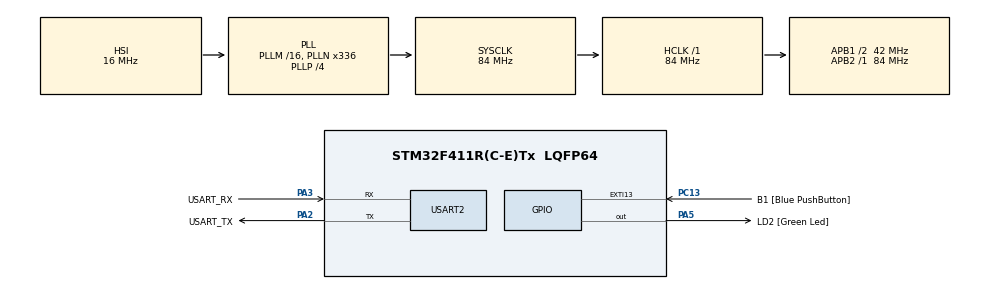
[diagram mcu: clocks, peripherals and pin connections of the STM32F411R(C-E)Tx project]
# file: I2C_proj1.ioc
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Mcu.Family=STM32F4
Mcu.Name=STM32F411R(C-E)Tx
Mcu.Package=LQFP64
NVIC.PriorityGroup=NVIC_PRIORITYGROUP_0
PA13.GPIO_Label=TMS
PA13.Mode=Serial_Wire
PA13.Signal=SYS_JTMS-SWDIO
PA14.GPIO_Label=TCK
PA14.Mode=Serial_Wire
PA14.Signal=SYS_JTCK-SWCLK
PA2.GPIO_Label=USART_TX
PA2.Mode=Asynchronous
PA2.Signal=USART2_TX
PA3.GPIO_Label=USART_RX
PA3.Mode=Asynchronous
PA3.Signal=USART2_RX
PA5.GPIO_Label=LD2 [Green Led]
PA5.Signal=GPIO_Output
PB3.GPIO_Label=SWO
PB3.Signal=SYS_JTDO-SWO
PC13-ANTI_TAMP.GPIO_Label=B1 [Blue PushButton]
PC13-ANTI_TAMP.GPIO_ModeDefaultEXTI=GPIO_MODE_IT_FALLING
PC13-ANTI_TAMP.Signal=GPXTI13
PC14-OSC32_IN.Mode=LSE-External-Oscillator
PC14-OSC32_IN.Signal=RCC_OSC32_IN
PC15-OSC32_OUT.Mode=LSE-External-Oscillator
PC15-OSC32_OUT.Signal=RCC_OSC32_OUT
PH0\ -\ OSC_IN.Mode=HSE-External-Clock-Source
PH0\ -\ OSC_IN.Signal=RCC_OSC_IN
PH1\ -\ OSC_OUT.Mode=HSE-External-Clock-Source
PH1\ -\ OSC_OUT.Signal=RCC_OSC_OUT
ProjectManager.HeapSize=0x200
ProjectManager.StackSize=0x400
ProjectManager.TargetToolchain=STM32CubeIDE
RCC.48MHZClocksFreq_Value=84000000
RCC.AHBFreq_Value=84000000
RCC.APB1CLKDivider=RCC_HCLK_DIV2
RCC.APB1Freq_Value=42000000
RCC.APB1TimFreq_Value=84000000
RCC.APB2Freq_Value=84000000
RCC.APB2TimFreq_Value=84000000
RCC.CortexFreq_Value=84000000
RCC.FLatency-AdvancedSettings=FLASH_LATENCY_2
RCC.HCLKFreq_Value=84000000
RCC.HSE_VALUE=8000000
RCC.HSI_VALUE=16000000
RCC.PLLN=336
RCC.PLLP=RCC_PLLP_DIV4
RCC.SYSCLKFreq_VALUE=84000000
RCC.SYSCLKSource=RCC_SYSCLKSOURCE_PLLCLK
RCC.VCOOutputFreq_Value=336000000
USART2.VirtualMode=VM_ASYNC
board=NUCLEO-F411RE

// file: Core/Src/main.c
/* USER CODE BEGIN Header */
/**
 ******************************************************************************
 * @file           : main.c
 * @brief          : Main program body
 ******************************************************************************
 * @attention
 *
 * Copyright (c) 2025 STMicroelectronics.
 * All rights reserved.
 *
 * This software is licensed under terms that can be found in the LICENSE file
 * in the root directory of this software component.
 * If no LICENSE file comes with this software, it is provided AS-IS.
 *
 ******************************************************************************
 */
/* USER CODE END Header */
#include "main.h"

/* USER CODE BEGIN Includes */
#include <stdio.h>
/* USER CODE END Includes */

/* USER CODE BEGIN PD */
#define I2C_SCL_PIN 8
#define I2C_SDA_PIN 9
/* USER CODE END PD */

UART_HandleTypeDef huart2;

void SystemClock_Config(void);
static void MX_GPIO_Init(void);
static void MX_USART2_UART_Init(void);

/* USER CODE BEGIN 0 */

typedef struct {
    I2C_TypeDef *Instance;
    GPIO_TypeDef *GPIOx;
    uint8_t SCL_Pin;
    uint8_t SDA_Pin;
    uint8_t AF;
} I2C_Handle_t;

void I2C_GPIO_Init(I2C_Handle_t *hi2c)
{
    uint32_t pos_scl = hi2c->SCL_Pin * 2;
    uint32_t pos_sda = hi2c->SDA_Pin * 2;

    if (hi2c->GPIOx == GPIOB) RCC->AHB1ENR |= RCC_AHB1ENR_GPIOBEN;
    if (hi2c->GPIOx == GPIOA) RCC->AHB1ENR |= RCC_AHB1ENR_GPIOAEN;
    if (hi2c->GPIOx == GPIOC) RCC->AHB1ENR |= RCC_AHB1ENR_GPIOCEN;

    hi2c->GPIOx->MODER &= ~((3U << pos_scl) | (3U << pos_sda));
    hi2c->GPIOx->MODER |= (2U << pos_scl) | (2U << pos_sda);
    hi2c->GPIOx->OTYPER |= (1U << hi2c->SCL_Pin) | (1U << hi2c->SDA_Pin);
    hi2c->GPIOx->OSPEEDR |= (3U << pos_scl) | (3U << pos_sda);
    hi2c->GPIOx->PUPDR &= ~((3U << pos_scl) | (3U << pos_sda));
    hi2c->GPIOx->PUPDR |= (1U << pos_scl) | (1U << pos_sda);

    if (hi2c->SCL_Pin < 8)
        hi2c->GPIOx->AFR[0] |= (hi2c->AF << (hi2c->SCL_Pin * 4));
    else
        hi2c->GPIOx->AFR[1] |= (hi2c->AF << ((hi2c->SCL_Pin - 8) * 4));

    if (hi2c->SDA_Pin < 8)
        hi2c->GPIOx->AFR[0] |= (hi2c->AF << (hi2c->SDA_Pin * 4));
    else
        hi2c->GPIOx->AFR[1] |= (hi2c->AF << ((hi2c->SDA_Pin - 8) * 4));
}

void I2C_Init(I2C_Handle_t *hi2c)
{
    if (hi2c->Instance == I2C1) RCC->APB1ENR |= RCC_APB1ENR_I2C1EN;
    if (hi2c->Instance == I2C2) RCC->APB1ENR |= RCC_APB1ENR_I2C2EN;
    if (hi2c->Instance == I2C3) RCC->APB1ENR |= RCC_APB1ENR_I2C3EN;

    I2C_GPIO_Init(hi2c);

    hi2c->Instance->CR1 = 0;
    hi2c->Instance->CR2 = 16;
    hi2c->Instance->CCR = 80;
    hi2c->Instance->TRISE = 17;
    hi2c->Instance->CR1 |= I2C_CR1_PE;
}

void I2C_Start(I2C_Handle_t *hi2c)
{
    hi2c->Instance->CR1 |= I2C_CR1_START;
    while (!(hi2c->Instance->SR1 & I2C_SR1_SB));
}

void I2C_WriteAddr(I2C_Handle_t *hi2c, uint8_t addr)
{
    (void)hi2c->Instance->SR1;
    hi2c->Instance->DR = addr << 1;
    while (!(hi2c->Instance->SR1 & I2C_SR1_ADDR));
    (void)hi2c->Instance->SR2;
}

void I2C_WriteData(I2C_Handle_t *hi2c, uint8_t data)
{
    while (!(hi2c->Instance->SR1 & I2C_SR1_TXE));
    hi2c->Instance->DR = data;
    while (!(hi2c->Instance->SR1 & I2C_SR1_BTF));
}

void I2C_Stop(I2C_Handle_t *hi2c)
{
    hi2c->Instance->CR1 |= I2C_CR1_STOP;
}

/* USER CODE END 0 */

int main(void)
{

	/* USER CODE BEGIN 1 */
	uint8_t i2c_address = 0X28;
	/* USER CODE END 1 */

	/* MCU Configuration--------------------------------------------------------*/

	/* Reset of all peripherals, Initializes the Flash interface and the Systick. */
	HAL_Init();

	/* Configure the system clock */
	SystemClock_Config();

	/* Initialize all configured peripherals */
	MX_GPIO_Init();
	MX_USART2_UART_Init();
	/* USER CODE BEGIN 2 */

	I2C1_GPIO_Init();
	I2C1_Init();
//
	I2C1_Start();
	I2C1_WriteAddr(0x50);  /// any address we can write here
	I2C1_WriteData(0xAA);
	I2C1_Stop();
	/* USER CODE END 2 */

	/* Infinite loop */
	while (1)
	{

		/* USER CODE BEGIN 3 */
		uint8_t ret = HAL_I2C_IsDeviceReady(&hi2c1, i2c_address << 1, 2, 100);

		if (ret == HAL_OK)
		{
			HAL_GPIO_TogglePin(GPIOC, GPIO_PIN_13);
			HAL_Delay(1000);
		}
		else
		{
			HAL_Delay(100);
		}
	}
	/* USER CODE END 3 */
}

void SystemClock_Config(void)
{
	RCC_OscInitTypeDef RCC_OscInitStruct = {0};
	RCC_ClkInitTypeDef RCC_ClkInitStruct = {0};

	/** Configure the main internal regulator output voltage
	 */
	__HAL_RCC_PWR_CLK_ENABLE();
	__HAL_PWR_VOLTAGESCALING_CONFIG(PWR_REGULATOR_VOLTAGE_SCALE1);

	/** Initializes the RCC Oscillators according to the specified parameters
	 * in the RCC_OscInitTypeDef structure.
	 */
	RCC_OscInitStruct.OscillatorType = RCC_OSCILLATORTYPE_HSI;
	RCC_OscInitStruct.HSIState = RCC_HSI_ON;
	RCC_OscInitStruct.HSICalibrationValue = RCC_HSICALIBRATION_DEFAULT;
	RCC_OscInitStruct.PLL.PLLState = RCC_PLL_ON;
	RCC_OscInitStruct.PLL.PLLSource = RCC_PLLSOURCE_HSI;
	RCC_OscInitStruct.PLL.PLLM = 16;
	RCC_OscInitStruct.PLL.PLLN = 336;
	RCC_OscInitStruct.PLL.PLLP = RCC_PLLP_DIV4;
	RCC_OscInitStruct.PLL.PLLQ = 4;
	if (HAL_RCC_OscConfig(&RCC_OscInitStruct) != HAL_OK)
	{
		Error_Handler();
	}

	/** Initializes the CPU, AHB and APB buses clocks
	 */
	RCC_ClkInitStruct.ClockType = RCC_CLOCKTYPE_HCLK|RCC_CLOCKTYPE_SYSCLK
			|RCC_CLOCKTYPE_PCLK1|RCC_CLOCKTYPE_PCLK2;
	RCC_ClkInitStruct.SYSCLKSource = RCC_SYSCLKSOURCE_PLLCLK;
	RCC_ClkInitStruct.AHBCLKDivider = RCC_SYSCLK_DIV1;
	RCC_ClkInitStruct.APB1CLKDivider = RCC_HCLK_DIV2;
	RCC_ClkInitStruct.APB2CLKDivider = RCC_HCLK_DIV1;

	if (HAL_RCC_ClockConfig(&RCC_ClkInitStruct, FLASH_LATENCY_2) != HAL_OK)
	{
		Error_Handler();
	}
}

static void MX_USART2_UART_Init(void)
{

	huart2.Instance = USART2;
	huart2.Init.BaudRate = 115200;
	huart2.Init.WordLength = UART_WORDLENGTH_8B;
	huart2.Init.StopBits = UART_STOPBITS_1;
	huart2.Init.Parity = UART_PARITY_NONE;
	huart2.Init.Mode = UART_MODE_TX_RX;
	huart2.Init.HwFlowCtl = UART_HWCONTROL_NONE;
	huart2.Init.OverSampling = UART_OVERSAMPLING_16;
	if (HAL_UART_Init(&huart2) != HAL_OK)
	{
		Error_Handler();
	}

}

static void MX_GPIO_Init(void)
{
	GPIO_InitTypeDef GPIO_InitStruct = {0};

	/* GPIO Ports Clock Enable */
	__HAL_RCC_GPIOC_CLK_ENABLE();
	__HAL_RCC_GPIOH_CLK_ENABLE();
	__HAL_RCC_GPIOA_CLK_ENABLE();
	__HAL_RCC_GPIOB_CLK_ENABLE();

	/*Configure GPIO pin Output Level */
	HAL_GPIO_WritePin(LD2_GPIO_Port, LD2_Pin, GPIO_PIN_RESET);

	/*Configure GPIO pin : B1_Pin */
	GPIO_InitStruct.Pin = B1_Pin;
	GPIO_InitStruct.Mode = GPIO_MODE_IT_FALLING;
	GPIO_InitStruct.Pull = GPIO_NOPULL;
	HAL_GPIO_Init(B1_GPIO_Port, &GPIO_InitStruct);

	/*Configure GPIO pin : LD2_Pin */
	GPIO_InitStruct.Pin = LD2_Pin;
	GPIO_InitStruct.Mode = GPIO_MODE_OUTPUT_PP;
	GPIO_InitStruct.Pull = GPIO_NOPULL;
	GPIO_InitStruct.Speed = GPIO_SPEED_FREQ_LOW;
	HAL_GPIO_Init(LD2_GPIO_Port, &GPIO_InitStruct);

}

void Error_Handler(void)
{
	__disable_irq();
	while (1)
	{
	}
}
